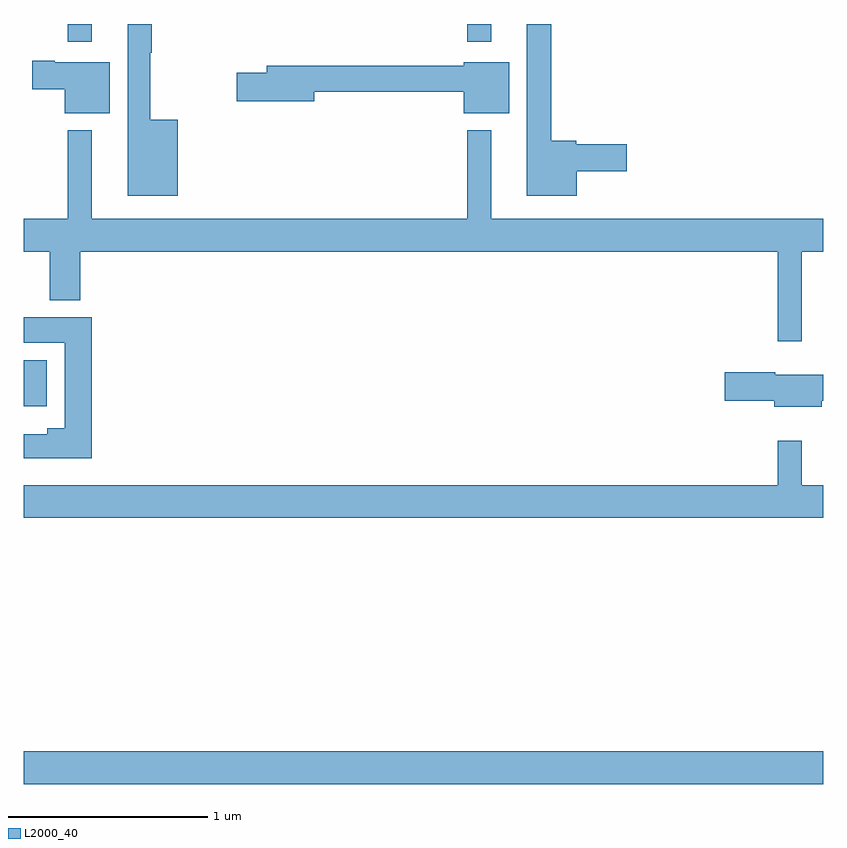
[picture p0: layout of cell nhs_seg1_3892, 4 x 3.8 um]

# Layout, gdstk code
import gdstk
lib = gdstk.Library(unit=1e-6, precision=1e-09)
def R(c, l, rs):  # rectangles x0, y0, x1, y1
    for r in rs: c.add(gdstk.rectangle(r[:2], r[2:], *l))
def P(c, l, *ps):  # polygons
    for p in ps: c.add(gdstk.Polygon(p, *l))
L2000_40 = (2000, 40)

nhs_seg1_3892 = lib.new_cell('nhs_seg1_3892')
R(nhs_seg1_3892, L2000_40, [(323,554.396,327,554.56), (323,556.286,323.116,556.516), (323.22,558.111,323.341,558.199), (325.218,558.111,325.339,558.199)])
P(nhs_seg1_3892, L2000_40, [(323.77,557.719),(323.633,557.719),(323.633,558.055),(323.641,558.055),(323.641,558.199),(323.519,558.199),(323.519,557.339),(323.77,557.339)],
  [(325.768,557.462),(326.017,557.462),(326.017,557.597),(325.764,557.597),(325.764,557.615),(325.639,557.615),(325.639,558.199),(325.517,558.199),(325.517,557.339),(325.768,557.339)],
  [(323.431,558.007),(323.155,558.007),(323.155,558.015),(323.043,558.015),(323.043,557.873),(323.204,557.873),(323.204,557.753),(323.431,557.753)],
  [(325.429,558.007),(325.202,558.007),(325.202,557.989),(324.215,557.989),(324.215,557.955),(324.066,557.955),(324.066,557.813),(324.454,557.813),(324.454,557.86),(325.202,557.86),(325.202,557.753),(325.429,557.753)],
  [(326.893,557.06),(327,557.06),(327,557.224),(325.339,557.224),(325.339,557.668),(325.218,557.668),(325.218,557.224),(323.341,557.224),(323.341,557.668),(323.22,557.668),(323.22,557.224),(323,557.224),(323,557.06),(323.129,557.06),(323.129,556.817),(323.282,556.817),(323.282,557.06),(326.772,557.06),(326.772,556.611),(326.893,556.611)],
  [(323.339,556.732),(323,556.732),(323,556.604),(323.204,556.604),(323.204,556.177),(323.117,556.177),(323.117,556.147),(323,556.147),(323,556.025),(323.339,556.025)],
  [(326.992,556.315),(327,556.315),(327,556.444),(326.76,556.444),(326.76,556.457),(326.508,556.457),(326.508,556.315),(326.756,556.315),(326.756,556.283),(326.992,556.283)],
  [(327,555.892),(326.893,555.892),(326.893,556.114),(326.772,556.114),(326.772,555.892),(323,555.892),(323,555.728),(327,555.728)])

lib.write_gds('nhs_seg1_3892.gds')
